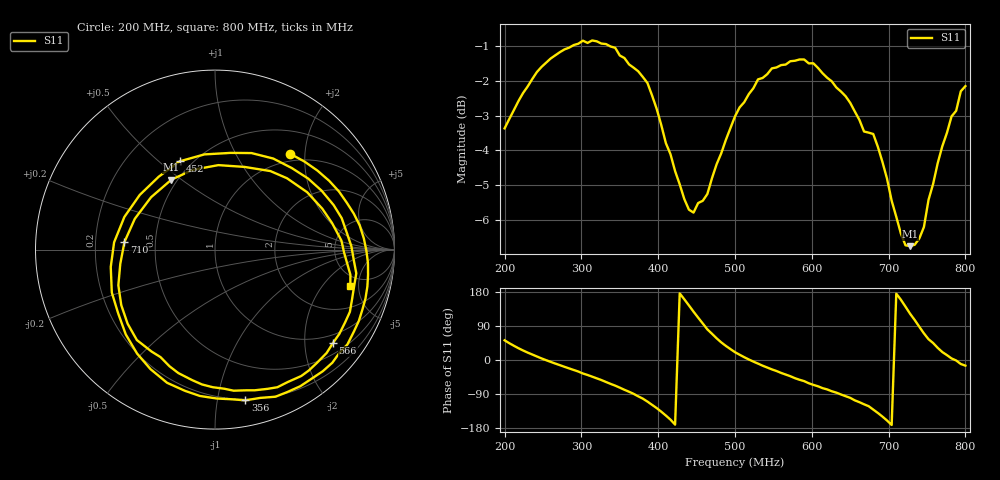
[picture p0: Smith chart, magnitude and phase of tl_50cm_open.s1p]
# HZ S RI R 50
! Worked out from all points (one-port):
!   101 points, 200 MHz to 800 MHz, reference 50 ohm
!   lowest |S11| = -6.8 dB at 728 MHz (marker M1), VSWR 2.70, Z = 23.2 + j22.9 ohm
!   |S11| at or under -10 dB: nowhere
!   S11 on the Smith chart (normalised r, x): 200 MHz: 0.86, +1.71; 356 MHz: 0.19, -1.20; 452 MHz: 0.43, +0.59; 566 MHz: 0.76, -2.68; 710 MHz: 0.33, +0.04; 800 MHz: 3.88, -3.99
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2e8  0.4178 0.5346
2.18e8  0.6359 0.3836
2.42e8  0.8068 0.133
2.78e8  0.8383 -0.2727
3.14e8  0.654 -0.63
3.5e8  0.2524 -0.8262
3.56e8  0.1694 -0.8398
3.86e8  -0.2671 -0.7421
4.1e8  -0.5395 -0.3553
4.28e8  -0.5621 0.0407
4.4e8  -0.4191 0.3048
4.52e8  -0.1966 0.4918
4.76e8  0.3244 0.5073
5e8  0.661 0.2481
5.3e8  0.7872 -0.1324
5.66e8  0.6572 -0.5205
5.78e8  0.5687 -0.6304
6.14e8  0.2213 -0.7839
6.5e8  -0.1265 -0.7276
6.8e8  -0.4352 -0.5041
6.98e8  -0.5385 -0.1987
7.1e8  -0.5043 0.0429
7.28e8  -0.2432 0.3894
7.4e8  0.0187 0.4706
7.52e8  0.3085 0.4376
7.7e8  0.5978 0.2279
7.82e8  0.7043 0.0503
8e8  0.7542 -0.2008
